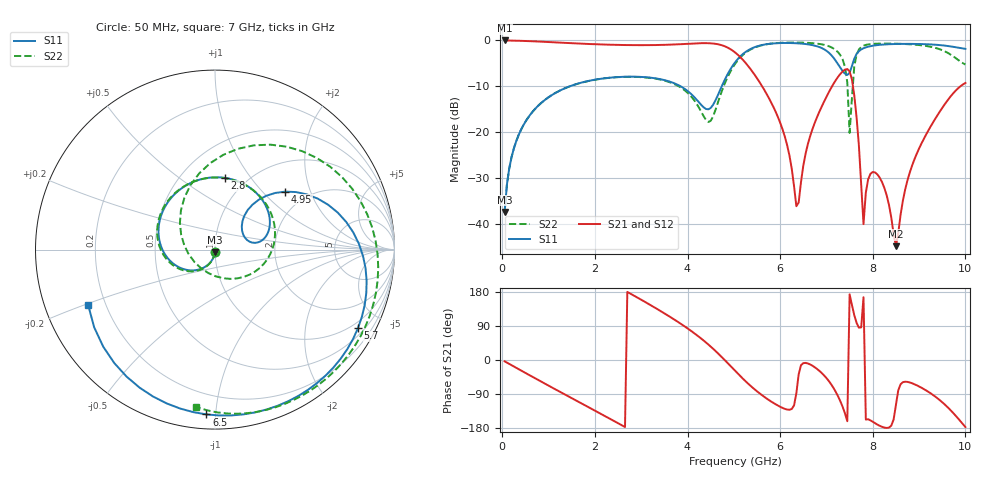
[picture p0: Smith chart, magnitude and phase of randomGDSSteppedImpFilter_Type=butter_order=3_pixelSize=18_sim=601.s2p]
! freq	dB(S11)	phase(S11)	dB(S12)	phase(S12)
!  dB(S21)	phase(S21)	dB(S22)	phase(S22)
!S-par simulation data
#  GHz  S  DB  R 50
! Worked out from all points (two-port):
!   200 points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, 50 MHz to 10 GHz, reference 50 ohm
!   highest |S21| = -0.01 dB at 50 MHz (marker M1); lowest = -44.8 dB at 8.5 GHz (marker M2)
!   |S21| within 3 dB of the highest: start of sweep to 5.072 GHz
!   lowest |S11| = -37.3 dB at 50 MHz (marker M3), VSWR 1.03, Z = 49.9 - j1.35 ohm
!   |S11| at or under -10 dB: start of sweep to 1.453 GHz; 3.854 GHz to 4.739 GHz (884.9 MHz wide, 20.6 % of centre)
!   |S22| runs from -37.3 to -0.5 dB; largest |S21 - S12| = 0
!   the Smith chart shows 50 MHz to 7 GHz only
!   S11 on the Smith chart (normalised r, x): 50 MHz: 1.00, -0.03; 2.8 GHz: 0.79, +0.76; 4.95 GHz: 1.56, +1.36; 5.7 GHz: 0.75, -3.76; 6.5 GHz: 0.08, -0.95; 7 GHz: 0.13, -0.20
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0.05  -37.35 -93.2  -0.01 -3.5  -0.01 -3.5  -37.30 -92.8
0.5  -17.68 -125.5  -0.12 -34.2  -0.12 -34.2  -17.68 -123.7
1.75  -9.07 149.9  -0.72 -117.2  -0.72 -117.2  -9.08 154.4
2.8  -7.89 82.2  -1.02 172.9  -1.02 172.9  -7.92 82.8
3.4  -8.41 44.9  -0.99 130.5  -0.99 130.5  -8.49 36.6
4.2  -12.93 9.6  -0.64 65.6  -0.64 65.6  -13.85 -52.1
4.95  -5.89 39.5  -2.06 -18.8  -2.06 -18.8  -6.34 93.2
5.05  -4.47 31.0  -2.81 -31.4  -2.81 -31.4  -4.79 77.1
5.7  -0.83 -28.8  -11.50 -101.0  -11.50 -101.0  -0.86 -1.6
6.35  -0.61 -80.1  -36.07 -87.7  -36.07 -87.7  -0.45 -52.2
6.5  -0.73 -93.0  -27.25 -8.2  -27.25 -8.2  -0.49 -62.2
6.7  -1.03 -112.8  -19.23 -15.3  -19.23 -15.3  -0.60 -75.5
7  -2.26 -156.4  -12.26 -47.7  -12.26 -47.7  -1.09 -96.9
7.4  -7.24 75.5  -6.36 -141.0  -6.36 -141.0  -5.78 -141.5
7.5  -7.06 48.3  -6.74 173.4  -6.74 173.4  -20.12 -155.8
7.7  -2.35 -7.0  -22.84 85.4  -22.84 85.4  -1.99 -73.4
7.8  -1.71 -28.6  -39.96 165.7  -39.96 165.7  -1.15 -89.8
8  -1.15 -57.1  -28.62 -163.2  -28.62 -163.2  -0.76 -109.4
8.35  -0.82 -88.0  -35.78 -178.5  -35.78 -178.5  -0.68 -133.1
8.5  -0.77 -98.1  -44.76 -118.8  -44.76 -118.8  -0.71 -142.6
9.6  -1.18 -158.4  -13.25 -122.6  -13.25 -122.6  -2.60 111.7
10  -1.84 -178.3  -9.25 -176.9  -9.25 -176.9  -5.24 19.6
